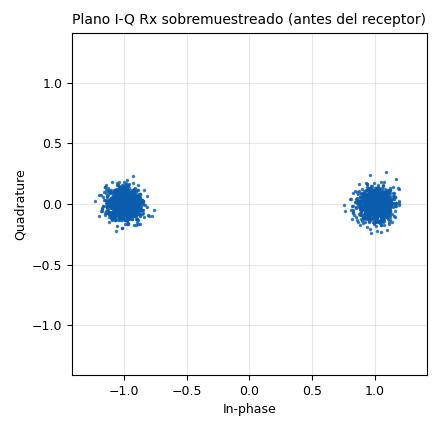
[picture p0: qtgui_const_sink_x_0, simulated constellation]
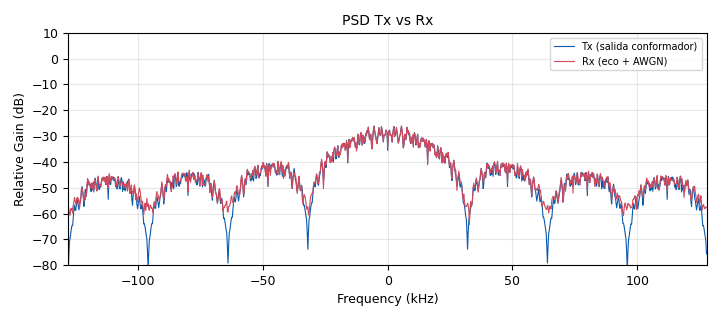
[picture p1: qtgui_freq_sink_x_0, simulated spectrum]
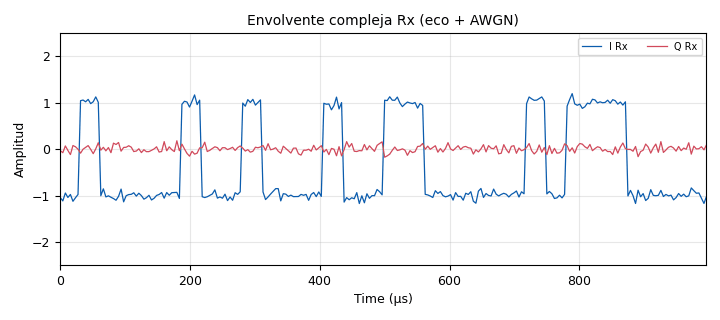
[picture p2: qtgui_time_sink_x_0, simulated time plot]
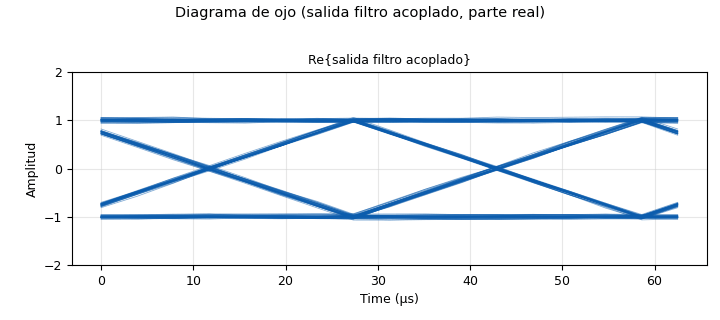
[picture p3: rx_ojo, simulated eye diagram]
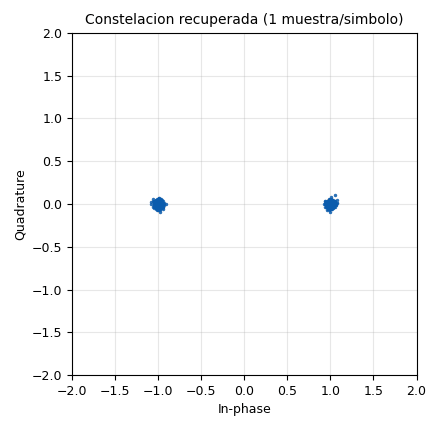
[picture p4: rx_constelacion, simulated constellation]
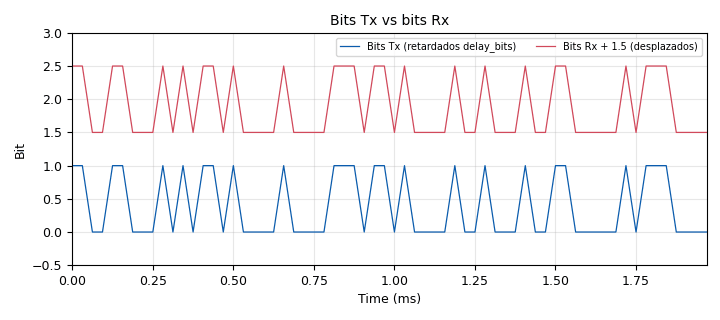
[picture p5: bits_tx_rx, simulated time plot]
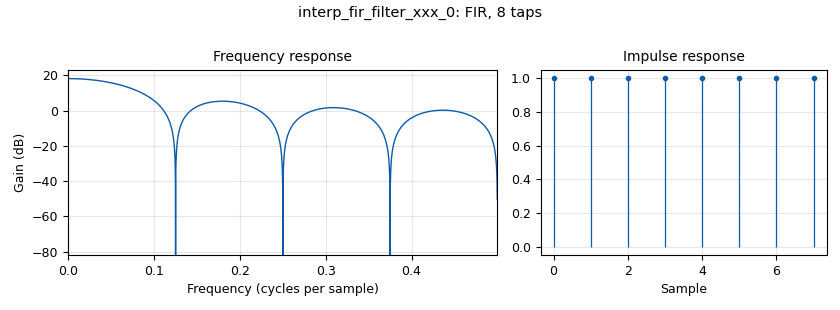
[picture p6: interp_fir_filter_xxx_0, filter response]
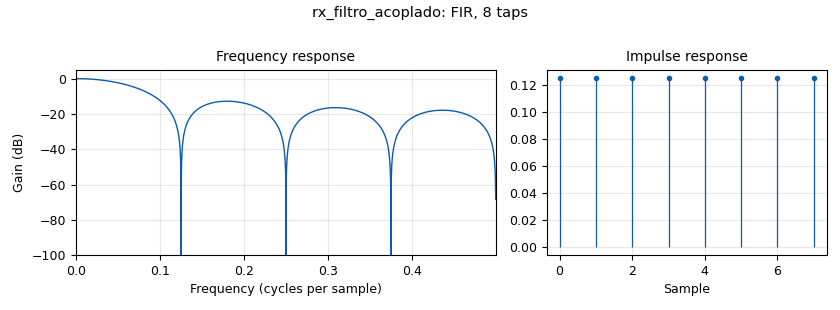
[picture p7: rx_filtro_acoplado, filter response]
options:
  parameters:
    author: 'Grupo 5: Elkin Largo, Stiven Muñoz, Minuk Lee'
    comment: GRC para analizar ruido AWGN en modulaciones basadas en constelaciones
    description: 'Copia modificada de Modulaciones_basadas_en_constelaciones_AWGN.grc. BPSK, pulso rectangular, canal camino directo + eco (retardo D_eco, ganancia compleja alpha) + AWGN y receptor: filtro acoplado, diagrama de ojo, muestreo 1 de Sps, decision y BER.'
    generate_options: qt_gui
    id: S3_Multitrayectoria_BPSK_Grupo5
    output_language: python
    title: S3 Multitrayectoria BPSK - Grupo 5 (Tx-canal eco-Rx)
  states: {}

blocks:
- name: M
  id: variable
  parameters:
    value: len(tabla_de_verdad_constelacion)
  states: {}
- name: Rb
  id: variable
  parameters:
    value: Rs*bps
  states: {}
- name: Rs
  id: variable
  parameters:
    value: '32000'
  states: {}
- name: Sps
  id: variable
  parameters:
    value: '8'
  states: {}
- name: bps
  id: variable
  parameters:
    value: int(math.log(M,2))
  states: {}
- name: h
  id: variable
  parameters:
    value: '[1]*Sps'
  states: {}
- name: noise_amp
  id: variable_qtgui_range
  parameters:
    gui_hint: 0,1,1,1
    label: Amplitud de ruido AWGN
    start: '0'
    step: '0.01'
    stop: '0.5'
    value: '0.10'
  states: {}
- name: samp_rate
  id: variable
  parameters:
    value: Rs*Sps
  states: {}
- name: tabla_de_verdad_constelacion
  id: variable
  parameters:
    comment: Cambie esta tabla para OOK ASK BPSK QPSK 8PSK o 16QAM
    value: (-1+0j, 1+0j)
  states: {}
- name: analog_noise_source_x_0
  id: analog_noise_source_x
  parameters:
    amp: noise_amp
    noise_type: analog.GR_GAUSSIAN
    seed: '0'
    type: complex
  states: {}
- name: analog_random_source_x_0
  id: analog_random_source_x
  parameters:
    max: '2'
    min: '0'
    num_samps: '1000'
    repeat: 'True'
    type: byte
  states: {}
- name: blocks_add_xx_0
  id: blocks_add_xx
  parameters:
    type: complex
  states: {}
- name: blocks_pack_k_bits_bb_0
  id: blocks_pack_k_bits_bb
  parameters:
    k: '8'
  states: {}
- name: blocks_packed_to_unpacked_xx_0
  id: blocks_packed_to_unpacked_xx
  parameters:
    bits_per_chunk: bps
    endianness: gr.GR_MSB_FIRST
    type: byte
  states: {}
- name: digital_chunks_to_symbols_xx_0
  id: digital_chunks_to_symbols_xx
  parameters:
    dimension: '1'
    in_type: byte
    out_type: complex
    symbol_table: tabla_de_verdad_constelacion
  states: {}
- name: import_0
  id: import
  parameters:
    imports: import math, cmath
  states: {}
- name: interp_fir_filter_xxx_0
  id: interp_fir_filter_xxx
  parameters:
    interp: Sps
    taps: h
    type: ccf
  states: {}
- name: qtgui_const_sink_x_0
  id: qtgui_const_sink_x
  parameters:
    autoscale: 'True'
    grid: 'True'
    gui_hint: 1,1,1,1
    label1: '"Rx (Sps muestras/simbolo)"'
    legend: 'False'
    name: '"Plano I-Q Rx sobremuestreado (antes del receptor)"'
    size: '2048'
    type: complex
  states: {}
- name: qtgui_freq_sink_x_0
  id: qtgui_freq_sink_x
  parameters:
    average: '0.2'
    bw: samp_rate
    fc: '0'
    fftsize: '1024'
    grid: 'True'
    gui_hint: 1,0,1,1
    label1: Tx (salida conformador)
    label2: Rx (eco + AWGN)
    name: '"PSD Tx vs Rx"'
    nconnections: '2'
    type: complex
    ymin: '-80'
  states: {}
- name: qtgui_time_sink_x_0
  id: qtgui_time_sink_x
  parameters:
    grid: 'True'
    gui_hint: 1,2,1,1
    label1: I Rx
    label2: Q Rx
    name: '"Envolvente compleja Rx (eco + AWGN)"'
    size: '256'
    srate: samp_rate
    type: complex
    ylabel: Amplitud
    ymax: '2.5'
    ymin: '-2.5'
    yunit: '"V"'
  states: {}
- name: throttle_0
  id: blocks_throttle2
  parameters:
    samples_per_second: samp_rate
    type: complex
  states: {}
- name: D_eco
  id: variable
  parameters:
    value: Sps
  states: {}
- name: eco_fase_deg
  id: variable
  parameters:
    value: '0'
  states: {}
- name: alpha_c
  id: variable
  parameters:
    value: eco_alpha*cmath.exp(1j*math.radians(eco_fase_deg))
  states: {}
- name: h_mf
  id: variable
  parameters:
    value: '[1.0/Sps]*Sps'
  states: {}
- name: delay_bits
  id: variable
  parameters:
    value: '0'
  states: {}
- name: N_ber
  id: variable
  parameters:
    value: '20000'
  states: {}
- name: eco_alpha
  id: variable_qtgui_chooser
  parameters:
    label: '"Prueba (|alpha| del eco)"'
    type: real
    num_opts: '4'
    value: '0'
    option0: '0'
    label0: '"A Referencia |a|=0"'
    option1: '0.2'
    label1: '"B Suave |a|=0.2"'
    option2: '0.5'
    label2: '"C Media |a|=0.5"'
    option3: '0.8'
    label3: '"D Fuerte |a|=0.8"'
    widget: radio_buttons
    orient: Qt.QHBoxLayout
    gui_hint: 0,0,1,1
  states: {}
- name: canal_eco_retardo
  id: blocks_delay
  parameters:
    type: complex
    delay: D_eco
  states: {}
- name: canal_eco_ganancia
  id: blocks_multiply_const_vxx
  parameters:
    type: complex
    const: alpha_c
  states: {}
- name: canal_suma_eco
  id: blocks_add_xx
  parameters:
    type: complex
  states: {}
- name: rx_filtro_acoplado
  id: fir_filter_xxx
  parameters:
    type: ccf
    decim: '1'
    taps: h_mf
  states: {}
- name: rx_real_ojo
  id: blocks_complex_to_real
  parameters: {}
  states: {}
- name: rx_ojo
  id: qtgui_eye_sink_x
  parameters:
    label1: Re{salida filtro acoplado}
    type: float
    ylabel: '"Amplitud"'
    size: '2048'
    samp_per_symbol: Sps
    srate: samp_rate
    grid: 'True'
    ymin: '-2'
    ymax: '2'
    entags: 'False'
    gui_hint: 2,0,1,1
    name: '"Diagrama de ojo (salida filtro acoplado, parte real)"'
  states: {}
- name: rx_muestreo
  id: blocks_keep_one_in_n
  parameters:
    type: complex
    n: Sps
  states: {}
- name: rx_constelacion
  id: qtgui_const_sink_x
  parameters:
    grid: 'True'
    gui_hint: 2,1,1,1
    label1: '"Decision"'
    legend: 'False'
    name: '"Constelacion recuperada (1 muestra/simbolo)"'
    size: '1024'
    type: complex
  states: {}
- name: rx_real_decision
  id: blocks_complex_to_real
  parameters: {}
  states: {}
- name: rx_decision
  id: digital_binary_slicer_fb
  parameters: {}
  states: {}
- name: ber_retardo_tx
  id: blocks_delay
  parameters:
    type: byte
    delay: delay_bits
  states: {}
- name: ber_xor
  id: blocks_xor_xx
  parameters:
    type: byte
    vlen: '1'
  states: {}
- name: ber_a_float
  id: blocks_char_to_float
  parameters:
    scale: '1'
  states: {}
- name: ber_promedio
  id: blocks_moving_average_xx
  parameters:
    type: float
    length: N_ber
    scale: 1.0/N_ber
    max_iter: '4000'
  states: {}
- name: ber_medidor
  id: qtgui_number_sink
  parameters:
    name: '"BER (ventana N_ber bits)"'
    type: float
    graph_type: qtgui.NUM_GRAPH_HORIZ
    min: '0'
    max: '0.5'
    update_time: '0.20'
    gui_hint: 0,2,1,1
    label1: '"BER"'
    unit1: '""'
  states: {}
- name: bits_tx_float
  id: blocks_char_to_float
  parameters:
    scale: '1'
  states: {}
- name: bits_rx_float
  id: blocks_char_to_float
  parameters:
    scale: '1'
  states: {}
- name: bits_rx_offset
  id: blocks_add_const_vxx
  parameters:
    type: float
    const: '1.5'
  states: {}
- name: bits_tx_rx
  id: qtgui_time_sink_x
  parameters:
    grid: 'True'
    gui_hint: 2,2,1,1
    label1: Bits Tx (retardados delay_bits)
    label2: Bits Rx + 1.5 (desplazados)
    name: '"Bits Tx vs bits Rx"'
    nconnections: '2'
    size: '64'
    srate: Rb
    type: float
    ylabel: Bit
    ymax: '3'
    ymin: '-0.5'
  states: {}

connections:
- [analog_noise_source_x_0, '0', blocks_add_xx_0, '1']
- [analog_random_source_x_0, '0', blocks_pack_k_bits_bb_0, '0']
- [blocks_add_xx_0, '0', qtgui_const_sink_x_0, '0']
- [blocks_add_xx_0, '0', qtgui_time_sink_x_0, '0']
- [blocks_pack_k_bits_bb_0, '0', blocks_packed_to_unpacked_xx_0, '0']
- [blocks_packed_to_unpacked_xx_0, '0', digital_chunks_to_symbols_xx_0, '0']
- [digital_chunks_to_symbols_xx_0, '0', interp_fir_filter_xxx_0, '0']
- [interp_fir_filter_xxx_0, '0', throttle_0, '0']
- [throttle_0, '0', canal_suma_eco, '0']
- [throttle_0, '0', canal_eco_retardo, '0']
- [canal_eco_retardo, '0', canal_eco_ganancia, '0']
- [canal_eco_ganancia, '0', canal_suma_eco, '1']
- [canal_suma_eco, '0', blocks_add_xx_0, '0']
- [throttle_0, '0', qtgui_freq_sink_x_0, '0']
- [blocks_add_xx_0, '0', qtgui_freq_sink_x_0, '1']
- [blocks_add_xx_0, '0', rx_filtro_acoplado, '0']
- [rx_filtro_acoplado, '0', rx_real_ojo, '0']
- [rx_real_ojo, '0', rx_ojo, '0']
- [rx_filtro_acoplado, '0', rx_muestreo, '0']
- [rx_muestreo, '0', rx_constelacion, '0']
- [rx_muestreo, '0', rx_real_decision, '0']
- [rx_real_decision, '0', rx_decision, '0']
- [blocks_packed_to_unpacked_xx_0, '0', ber_retardo_tx, '0']
- [ber_retardo_tx, '0', ber_xor, '0']
- [rx_decision, '0', ber_xor, '1']
- [ber_xor, '0', ber_a_float, '0']
- [ber_a_float, '0', ber_promedio, '0']
- [ber_promedio, '0', ber_medidor, '0']
- [ber_retardo_tx, '0', bits_tx_float, '0']
- [rx_decision, '0', bits_rx_float, '0']
- [bits_rx_float, '0', bits_rx_offset, '0']
- [bits_tx_float, '0', bits_tx_rx, '0']
- [bits_rx_offset, '0', bits_tx_rx, '1']

metadata:
  file_format: 1
  grc_version: 3.10.12.0
